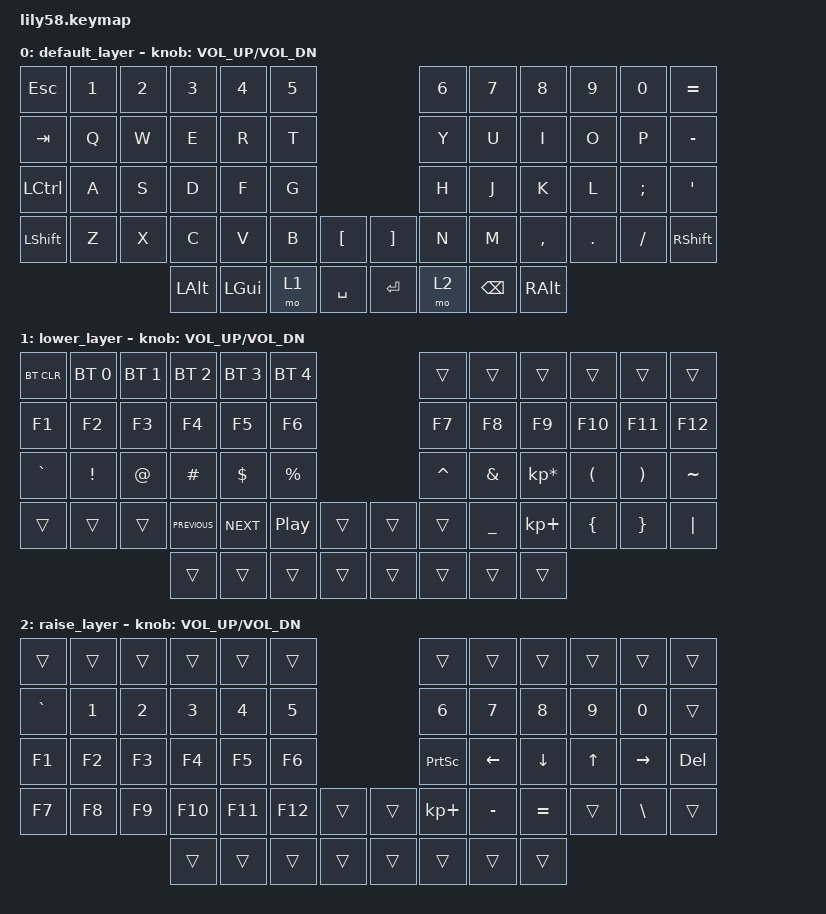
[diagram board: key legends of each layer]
/*
 * Copyright (c) 2020 The ZMK Contributors
 *
 * SPDX-License-Identifier: MIT
 */

#include <behaviors.dtsi>
#include <dt-bindings/zmk/keys.h>
#include <dt-bindings/zmk/bt.h>
#include <dt-bindings/zmk/ext_power.h>

/ {
	keymap {
		compatible = "zmk,keymap";

		default_layer {
// QWERTY
// ,-----------------------------------------.                    ,-----------------------------------------.
// | ESC  |   1  |   2  |   3  |   4  |   5  |                    |   6  |   7  |   8  |   9  |   0  |  =   |
// |------+------+------+------+------+------|                    |------+------+------+------+------+------|
// | Tab  |   Q  |   W  |   E  |   R  |   T  |                    |   Y  |   U  |   I  |   O  |   P  |  -   |
// |------+------+------+------+------+------|                    |------+------+------+------+------+------|
// |LCTRL |   A  |   S  |   D  |   F  |   G  |-------.    ,-------|   H  |   J  |   K  |   L  |   ;  |  '   |
// |------+------+------+------+------+------|   [   |    |    ]  |------+------+------+------+------+------|
// |LShift|   Z  |   X  |   C  |   V  |   B  |-------|    |-------|   N  |   M  |   ,  |   .  |   /  |RShift|
// `-----------------------------------------/       /     \      \-----------------------------------------'
//                   | LAlt | LGUI |LOWER | /Space  /       \Enter \  |RAISE |BackSp| RAlt |
//                   |      |      |      |/       /         \      \ |      |      |      |
//                   `----------------------------'           '------''--------------------'
//
			bindings = <
&kp ESC   &kp N1 &kp N2 &kp N3   &kp N4   &kp N5                     &kp N6 &kp N7   &kp N8    &kp N9  &kp N0   &kp EQUAL
&kp TAB   &kp Q  &kp W  &kp E    &kp R    &kp T                      &kp Y  &kp U    &kp I     &kp O   &kp P    &kp MINUS
&kp LCTRL &kp A  &kp S  &kp D    &kp F    &kp G                      &kp H  &kp J    &kp K     &kp L   &kp SEMI &kp SQT
&kp LSHFT &kp Z  &kp X  &kp C    &kp V    &kp B  &kp LBKT   &kp RBKT &kp N  &kp M    &kp COMMA &kp DOT &kp FSLH &kp RSHIFT
                        &kp LALT &kp LGUI &mo 1  &kp SPACE  &kp RET  &mo 2  &kp BSPC &kp RALT
			>;

			sensor-bindings = <&inc_dec_kp C_VOL_UP C_VOL_DN>;
		};

		lower_layer {
// LOWER
// ,-----------------------------------------.                    ,-----------------------------------------.
// |BTCLR |  BT1 |  BT2 |  BT3 |  BT4 | BT5  |                    |      |      |      |      |      |      |
// |------+------+------+------+------+------|                    |------+------+------+------+------+------|
// |  F1  |  F2  |  F3  |  F4  |  F5  |  F6  |                    |  F7  |  F8  |  F9  | F10  | F11  | F12  |
// |------+------+------+------+------+------|                    |------+------+------+------+------+------|
// |   `  |   !  |   @  |   #  |   $  |   %  |-------.    ,-------|   ^  |   &  |   *  |   (  |   )  |   ~  |
// |------+------+------+------+------+------|   [   |    |    ]  |------+------+------+------+------+------|
// |      |      |      | Prev | Next | Play |-------|    |-------|      |   _  |   +  |   {  |   }  |   |  |
// `-----------------------------------------/       /     \      \-----------------------------------------'
//                   | LAlt | LGUI |LOWER | /Space  /       \Enter \  |RAISE |BackSP| RAlt |
//                   |      |      |      |/       /         \      \ |      |      |      |
//                   `----------------------------'           '------''--------------------'
//
			bindings = <
&bt BT_CLR &bt BT_SEL 0     &bt BT_SEL 1      &bt BT_SEL 2      &bt BT_SEL 3 &bt BT_SEL 4                 &trans    &trans    &trans          &trans    &trans    &trans
&kp F1     &kp F2           &kp F3            &kp F4            &kp F5       &kp F6                       &kp F7    &kp F8    &kp F9          &kp F10   &kp F11   &kp F12
&kp GRAVE  &kp EXCL         &kp AT            &kp HASH          &kp DOLLAR   &kp PRCNT                    &kp CARET &kp AMPS  &kp KP_MULTIPLY &kp LPAR  &kp RPAR  &kp TILDE
&trans     &trans           &trans  &kp C_PREVIOUS    &kp C_NEXT   &kp C_PLAY_PAUSE    &trans   &trans    &trans    &kp UNDER &kp KP_PLUS     &kp LBRC  &kp RBRC  &kp PIPE
                                              &trans            &trans       &trans    &trans   &trans    &trans    &trans    &trans
			>;

			sensor-bindings = <&inc_dec_kp C_VOL_UP C_VOL_DN>;
		};

		raise_layer {
// RAISE
// ,-----------------------------------------.                    ,-----------------------------------------.
// |      |      |      |      |      |      |                    |      |      |      |      |      |      |
// |------+------+------+------+------+------|                    |------+------+------+------+------+------|
// |   `  |   1  |   2  |   3  |   4  |   5  |                    |   6  |   7  |   8  |   9  |   0  |      |
// |------+------+------+------+------+------|                    |------+------+------+------+------+------|
// |  F1  |  F2  |  F3  |  F4  |  F5  |  F6  |-------.    ,-------|PrtSc | Left | Down |  Up  |Right | Del  |
// |------+------+------+------+------+------|   [   |    |    ]  |------+------+------+------+------+------|
// |  F7  |  F8  |  F9  | F10  | F11  | F12  |-------|    |-------|   +  |   -  |   =  |      |   \  |      |
// `-----------------------------------------/       /     \      \-----------------------------------------'
//                   | LAlt | LGUI |LOWER | /Space  /       \Enter \  |RAISE |BackSP| RAlt |
//                   |      |      |      |/       /         \      \ |      |      |      |
//                   `----------------------------'           '------''--------------------'
//
			bindings = <
&trans    &trans &trans &trans  &trans  &trans                       &trans      &trans    &trans    &trans   &trans    &trans
&kp GRAVE &kp N1 &kp N2 &kp N3  &kp N4  &kp N5                       &kp N6      &kp N7    &kp N8    &kp N9   &kp N0    &trans
&kp F1    &kp F2 &kp F3 &kp F4  &kp F5  &kp F6                       &kp PSCRN   &kp LEFT  &kp DOWN  &kp UP   &kp RIGHT &kp DEL
&kp F7    &kp F8 &kp F9 &kp F10 &kp F11 &kp F12   &trans   &trans    &kp KP_PLUS &kp MINUS &kp EQUAL &trans   &kp BSLH  &trans
                        &trans  &trans  &trans    &trans   &trans    &trans      &trans    &trans
			>;

			sensor-bindings = <&inc_dec_kp C_VOL_UP C_VOL_DN>;
		};
	};
};
